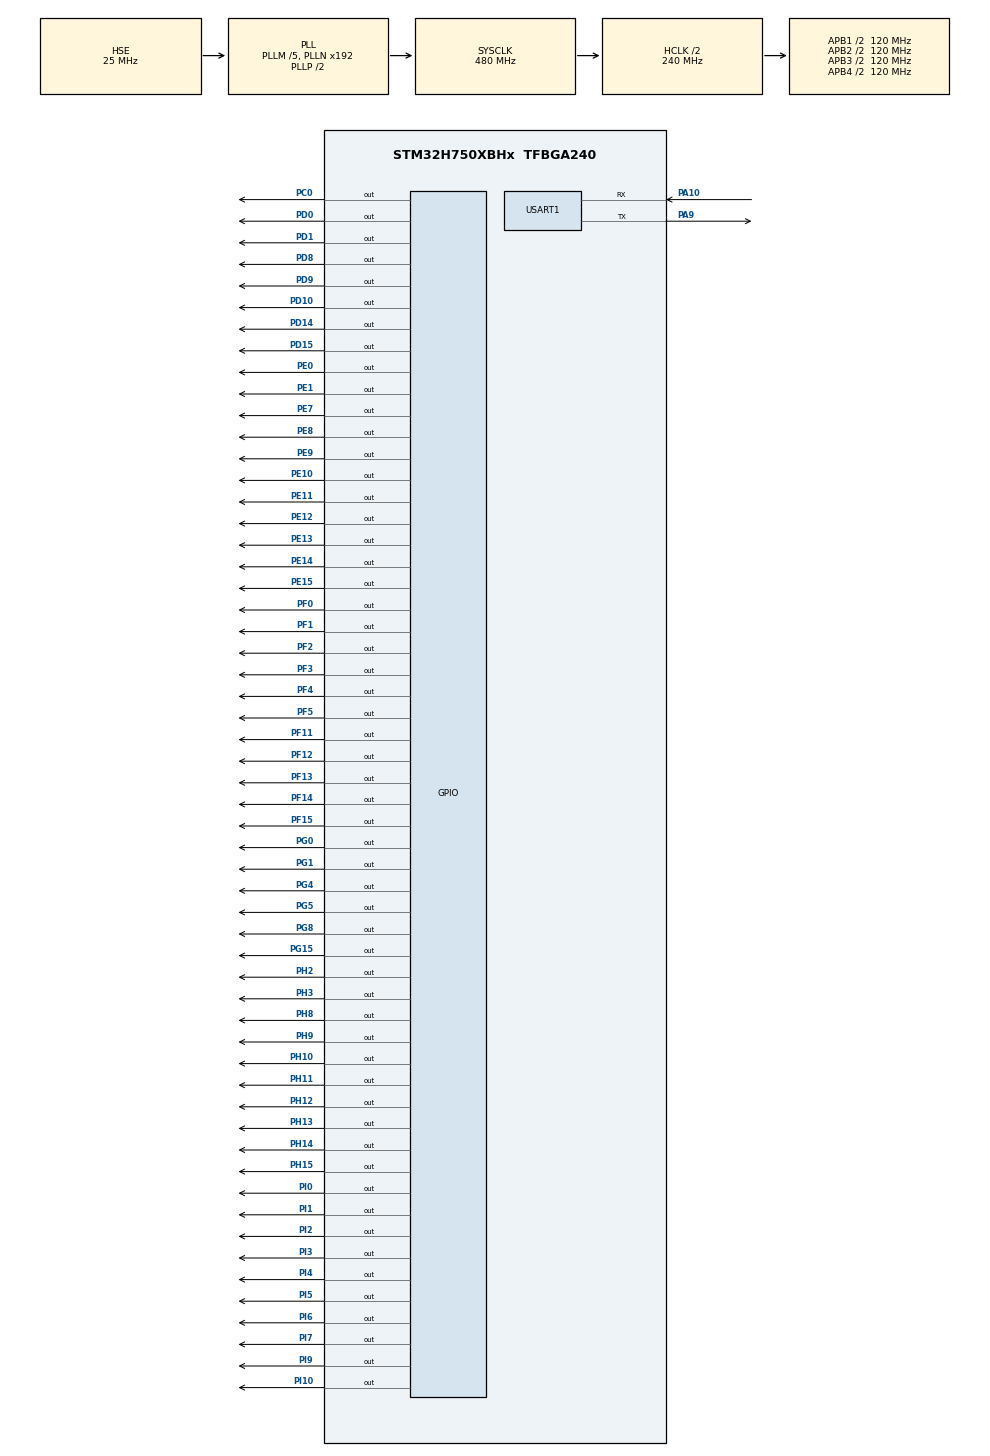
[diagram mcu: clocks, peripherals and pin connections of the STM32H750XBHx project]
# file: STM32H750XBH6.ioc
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CORTEX_M7.AccessPermission-Cortex_Memory_Protection_Unit_Region0_Settings=MPU_REGION_FULL_ACCESS
CORTEX_M7.BaseAddress-Cortex_Memory_Protection_Unit_Region0_Settings=0xC0000000
CORTEX_M7.CPU_DCache=Enabled
CORTEX_M7.CPU_ICache=Enabled
CORTEX_M7.Enable-Cortex_Memory_Protection_Unit_Region0_Settings=MPU_REGION_ENABLE
CORTEX_M7.IsBufferable-Cortex_Memory_Protection_Unit_Region0_Settings=MPU_ACCESS_BUFFERABLE
CORTEX_M7.IsCacheable-Cortex_Memory_Protection_Unit_Region0_Settings=MPU_ACCESS_CACHEABLE
CORTEX_M7.MPU_Control=MPU_PRIVILEGED_DEFAULT
CORTEX_M7.Size-Cortex_Memory_Protection_Unit_Region0_Settings=MPU_REGION_SIZE_16MB
Mcu.Family=STM32H7
Mcu.Name=STM32H750XBHx
Mcu.Package=TFBGA240
NVIC.PriorityGroup=NVIC_PRIORITYGROUP_4
PA10.GPIO_Speed=GPIO_SPEED_FREQ_VERY_HIGH
PA10.Mode=Asynchronous
PA10.Signal=USART1_RX
PA9.GPIO_Speed=GPIO_SPEED_FREQ_VERY_HIGH
PA9.Mode=Asynchronous
PA9.Signal=USART1_TX
PC0.GPIO_ModeDefaultOutputPP=GPIO_MODE_OUTPUT_PP
PC0.GPIO_PuPd=GPIO_NOPULL
PC0.GPIO_Speed=GPIO_SPEED_FREQ_HIGH
PC0.PinState=GPIO_PIN_RESET
PC0.Signal=GPIO_Output
PD0.GPIO_ModeDefaultOutputPP=GPIO_MODE_OUTPUT_PP
PD0.GPIO_PuPd=GPIO_NOPULL
PD0.GPIO_Speed=GPIO_SPEED_FREQ_HIGH
PD0.PinState=GPIO_PIN_RESET
PD0.Signal=GPIO_Output
PD1.GPIO_ModeDefaultOutputPP=GPIO_MODE_OUTPUT_PP
PD1.GPIO_PuPd=GPIO_NOPULL
PD1.GPIO_Speed=GPIO_SPEED_FREQ_HIGH
PD1.PinState=GPIO_PIN_RESET
PD1.Signal=GPIO_Output
PD10.GPIO_ModeDefaultOutputPP=GPIO_MODE_OUTPUT_PP
PD10.GPIO_PuPd=GPIO_NOPULL
PD10.GPIO_Speed=GPIO_SPEED_FREQ_HIGH
PD10.PinState=GPIO_PIN_RESET
PD10.Signal=GPIO_Output
PD14.GPIO_ModeDefaultOutputPP=GPIO_MODE_OUTPUT_PP
PD14.GPIO_PuPd=GPIO_NOPULL
PD14.GPIO_Speed=GPIO_SPEED_FREQ_HIGH
PD14.PinState=GPIO_PIN_RESET
PD14.Signal=GPIO_Output
PD15.GPIO_ModeDefaultOutputPP=GPIO_MODE_OUTPUT_PP
PD15.GPIO_PuPd=GPIO_NOPULL
PD15.GPIO_Speed=GPIO_SPEED_FREQ_HIGH
PD15.PinState=GPIO_PIN_RESET
PD15.Signal=GPIO_Output
PD8.GPIO_ModeDefaultOutputPP=GPIO_MODE_OUTPUT_PP
PD8.GPIO_PuPd=GPIO_NOPULL
PD8.GPIO_Speed=GPIO_SPEED_FREQ_HIGH
PD8.PinState=GPIO_PIN_RESET
PD8.Signal=GPIO_Output
PD9.GPIO_ModeDefaultOutputPP=GPIO_MODE_OUTPUT_PP
PD9.GPIO_PuPd=GPIO_NOPULL
PD9.GPIO_Speed=GPIO_SPEED_FREQ_HIGH
PD9.PinState=GPIO_PIN_RESET
PD9.Signal=GPIO_Output
PE0.GPIO_ModeDefaultOutputPP=GPIO_MODE_OUTPUT_PP
PE0.GPIO_PuPd=GPIO_NOPULL
PE0.GPIO_Speed=GPIO_SPEED_FREQ_HIGH
PE0.PinState=GPIO_PIN_RESET
PE0.Signal=GPIO_Output
PE1.GPIO_ModeDefaultOutputPP=GPIO_MODE_OUTPUT_PP
PE1.GPIO_PuPd=GPIO_NOPULL
PE1.GPIO_Speed=GPIO_SPEED_FREQ_HIGH
PE1.PinState=GPIO_PIN_RESET
PE1.Signal=GPIO_Output
PE10.GPIO_ModeDefaultOutputPP=GPIO_MODE_OUTPUT_PP
PE10.GPIO_PuPd=GPIO_NOPULL
PE10.GPIO_Speed=GPIO_SPEED_FREQ_HIGH
PE10.PinState=GPIO_PIN_RESET
PE10.Signal=GPIO_Output
PE11.GPIO_ModeDefaultOutputPP=GPIO_MODE_OUTPUT_PP
PE11.GPIO_PuPd=GPIO_NOPULL
PE11.GPIO_Speed=GPIO_SPEED_FREQ_HIGH
PE11.PinState=GPIO_PIN_RESET
PE11.Signal=GPIO_Output
PE12.GPIO_ModeDefaultOutputPP=GPIO_MODE_OUTPUT_PP
PE12.GPIO_PuPd=GPIO_NOPULL
PE12.GPIO_Speed=GPIO_SPEED_FREQ_HIGH
PE12.PinState=GPIO_PIN_RESET
PE12.Signal=GPIO_Output
PE13.GPIO_ModeDefaultOutputPP=GPIO_MODE_OUTPUT_PP
PE13.GPIO_PuPd=GPIO_NOPULL
PE13.GPIO_Speed=GPIO_SPEED_FREQ_HIGH
PE13.PinState=GPIO_PIN_RESET
PE13.Signal=GPIO_Output
PE14.GPIO_ModeDefaultOutputPP=GPIO_MODE_OUTPUT_PP
PE14.GPIO_PuPd=GPIO_NOPULL
PE14.GPIO_Speed=GPIO_SPEED_FREQ_HIGH
PE14.PinState=GPIO_PIN_RESET
PE14.Signal=GPIO_Output
PE15.GPIO_ModeDefaultOutputPP=GPIO_MODE_OUTPUT_PP
PE15.GPIO_PuPd=GPIO_NOPULL
PE15.GPIO_Speed=GPIO_SPEED_FREQ_HIGH
PE15.PinState=GPIO_PIN_RESET
PE15.Signal=GPIO_Output
PE7.GPIO_ModeDefaultOutputPP=GPIO_MODE_OUTPUT_PP
PE7.GPIO_PuPd=GPIO_NOPULL
PE7.GPIO_Speed=GPIO_SPEED_FREQ_HIGH
PE7.PinState=GPIO_PIN_RESET
PE7.Signal=GPIO_Output
PE8.GPIO_ModeDefaultOutputPP=GPIO_MODE_OUTPUT_PP
PE8.GPIO_PuPd=GPIO_NOPULL
PE8.GPIO_Speed=GPIO_SPEED_FREQ_HIGH
PE8.PinState=GPIO_PIN_RESET
PE8.Signal=GPIO_Output
PE9.GPIO_ModeDefaultOutputPP=GPIO_MODE_OUTPUT_PP
PE9.GPIO_PuPd=GPIO_NOPULL
PE9.GPIO_Speed=GPIO_SPEED_FREQ_HIGH
PE9.PinState=GPIO_PIN_RESET
PE9.Signal=GPIO_Output
PF0.GPIO_ModeDefaultOutputPP=GPIO_MODE_OUTPUT_PP
PF0.GPIO_PuPd=GPIO_NOPULL
PF0.GPIO_Speed=GPIO_SPEED_FREQ_HIGH
PF0.PinState=GPIO_PIN_RESET
PF0.Signal=GPIO_Output
PF1.GPIO_ModeDefaultOutputPP=GPIO_MODE_OUTPUT_PP
PF1.GPIO_PuPd=GPIO_NOPULL
PF1.GPIO_Speed=GPIO_SPEED_FREQ_HIGH
PF1.PinState=GPIO_PIN_RESET
PF1.Signal=GPIO_Output
PF11.GPIO_ModeDefaultOutputPP=GPIO_MODE_OUTPUT_PP
PF11.GPIO_PuPd=GPIO_NOPULL
PF11.GPIO_Speed=GPIO_SPEED_FREQ_HIGH
PF11.PinState=GPIO_PIN_RESET
PF11.Signal=GPIO_Output
PF12.GPIO_ModeDefaultOutputPP=GPIO_MODE_OUTPUT_PP
PF12.GPIO_PuPd=GPIO_NOPULL
PF12.GPIO_Speed=GPIO_SPEED_FREQ_HIGH
PF12.PinState=GPIO_PIN_RESET
PF12.Signal=GPIO_Output
PF13.GPIO_ModeDefaultOutputPP=GPIO_MODE_OUTPUT_PP
PF13.GPIO_PuPd=GPIO_NOPULL
PF13.GPIO_Speed=GPIO_SPEED_FREQ_HIGH
PF13.PinState=GPIO_PIN_RESET
PF13.Signal=GPIO_Output
PF14.GPIO_ModeDefaultOutputPP=GPIO_MODE_OUTPUT_PP
PF14.GPIO_PuPd=GPIO_NOPULL
PF14.GPIO_Speed=GPIO_SPEED_FREQ_HIGH
PF14.PinState=GPIO_PIN_RESET
PF14.Signal=GPIO_Output
PF15.GPIO_ModeDefaultOutputPP=GPIO_MODE_OUTPUT_PP
PF15.GPIO_PuPd=GPIO_NOPULL
PF15.GPIO_Speed=GPIO_SPEED_FREQ_HIGH
PF15.PinState=GPIO_PIN_RESET
PF15.Signal=GPIO_Output
PF2.GPIO_ModeDefaultOutputPP=GPIO_MODE_OUTPUT_PP
PF2.GPIO_PuPd=GPIO_NOPULL
PF2.GPIO_Speed=GPIO_SPEED_FREQ_HIGH
PF2.PinState=GPIO_PIN_RESET
PF2.Signal=GPIO_Output
PF3.GPIO_ModeDefaultOutputPP=GPIO_MODE_OUTPUT_PP
PF3.GPIO_PuPd=GPIO_NOPULL
PF3.GPIO_Speed=GPIO_SPEED_FREQ_HIGH
PF3.PinState=GPIO_PIN_RESET
PF3.Signal=GPIO_Output
PF4.GPIO_ModeDefaultOutputPP=GPIO_MODE_OUTPUT_PP
PF4.GPIO_PuPd=GPIO_NOPULL
PF4.GPIO_Speed=GPIO_SPEED_FREQ_HIGH
PF4.PinState=GPIO_PIN_RESET
PF4.Signal=GPIO_Output
PF5.GPIO_ModeDefaultOutputPP=GPIO_MODE_OUTPUT_PP
PF5.GPIO_PuPd=GPIO_NOPULL
PF5.GPIO_Speed=GPIO_SPEED_FREQ_HIGH
PF5.PinState=GPIO_PIN_RESET
PF5.Signal=GPIO_Output
PG0.GPIO_ModeDefaultOutputPP=GPIO_MODE_OUTPUT_PP
PG0.GPIO_PuPd=GPIO_NOPULL
PG0.GPIO_Speed=GPIO_SPEED_FREQ_HIGH
PG0.PinState=GPIO_PIN_RESET
PG0.Signal=GPIO_Output
PG1.Signal=GPIO_Output
PG15.GPIO_ModeDefaultOutputPP=GPIO_MODE_OUTPUT_PP
PG15.GPIO_PuPd=GPIO_NOPULL
PG15.GPIO_Speed=GPIO_SPEED_FREQ_HIGH
PG15.PinState=GPIO_PIN_RESET
PG15.Signal=GPIO_Output
PG4.GPIO_ModeDefaultOutputPP=GPIO_MODE_OUTPUT_PP
PG4.GPIO_PuPd=GPIO_NOPULL
PG4.GPIO_Speed=GPIO_SPEED_FREQ_HIGH
PG4.PinState=GPIO_PIN_RESET
PG4.Signal=GPIO_Output
PG5.GPIO_ModeDefaultOutputPP=GPIO_MODE_OUTPUT_PP
PG5.GPIO_PuPd=GPIO_NOPULL
PG5.GPIO_Speed=GPIO_SPEED_FREQ_HIGH
PG5.PinState=GPIO_PIN_RESET
PG5.Signal=GPIO_Output
PG8.GPIO_ModeDefaultOutputPP=GPIO_MODE_OUTPUT_PP
PG8.GPIO_PuPd=GPIO_NOPULL
PG8.GPIO_Speed=GPIO_SPEED_FREQ_HIGH
PG8.PinState=GPIO_PIN_RESET
PG8.Signal=GPIO_Output
PH0-OSC_IN\ (PH0).Mode=HSE-External-Oscillator
PH0-OSC_IN\ (PH0).Signal=RCC_OSC_IN
PH1-OSC_OUT\ (PH1).Mode=HSE-External-Oscillator
PH1-OSC_OUT\ (PH1).Signal=RCC_OSC_OUT
PH10.GPIO_ModeDefaultOutputPP=GPIO_MODE_OUTPUT_PP
PH10.GPIO_PuPd=GPIO_NOPULL
PH10.GPIO_Speed=GPIO_SPEED_FREQ_HIGH
PH10.PinState=GPIO_PIN_RESET
PH10.Signal=GPIO_Output
PH11.GPIO_ModeDefaultOutputPP=GPIO_MODE_OUTPUT_PP
PH11.GPIO_PuPd=GPIO_NOPULL
PH11.GPIO_Speed=GPIO_SPEED_FREQ_HIGH
PH11.PinState=GPIO_PIN_RESET
PH11.Signal=GPIO_Output
PH12.GPIO_ModeDefaultOutputPP=GPIO_MODE_OUTPUT_PP
PH12.GPIO_PuPd=GPIO_NOPULL
PH12.GPIO_Speed=GPIO_SPEED_FREQ_HIGH
PH12.PinState=GPIO_PIN_RESET
PH12.Signal=GPIO_Output
PH13.GPIO_ModeDefaultOutputPP=GPIO_MODE_OUTPUT_PP
PH13.GPIO_PuPd=GPIO_NOPULL
PH13.GPIO_Speed=GPIO_SPEED_FREQ_HIGH
PH13.PinState=GPIO_PIN_RESET
PH13.Signal=GPIO_Output
PH14.GPIO_ModeDefaultOutputPP=GPIO_MODE_OUTPUT_PP
PH14.GPIO_PuPd=GPIO_NOPULL
PH14.GPIO_Speed=GPIO_SPEED_FREQ_HIGH
PH14.PinState=GPIO_PIN_RESET
PH14.Signal=GPIO_Output
PH15.GPIO_ModeDefaultOutputPP=GPIO_MODE_OUTPUT_PP
PH15.GPIO_PuPd=GPIO_NOPULL
PH15.GPIO_Speed=GPIO_SPEED_FREQ_HIGH
PH15.PinState=GPIO_PIN_RESET
PH15.Signal=GPIO_Output
PH2.GPIO_ModeDefaultOutputPP=GPIO_MODE_OUTPUT_PP
PH2.GPIO_PuPd=GPIO_NOPULL
PH2.GPIO_Speed=GPIO_SPEED_FREQ_HIGH
PH2.PinState=GPIO_PIN_RESET
PH2.Signal=GPIO_Output
PH3.GPIO_ModeDefaultOutputPP=GPIO_MODE_OUTPUT_PP
PH3.GPIO_PuPd=GPIO_NOPULL
PH3.GPIO_Speed=GPIO_SPEED_FREQ_HIGH
PH3.PinState=GPIO_PIN_RESET
PH3.Signal=GPIO_Output
PH8.GPIO_ModeDefaultOutputPP=GPIO_MODE_OUTPUT_PP
PH8.GPIO_PuPd=GPIO_NOPULL
PH8.GPIO_Speed=GPIO_SPEED_FREQ_HIGH
PH8.PinState=GPIO_PIN_RESET
PH8.Signal=GPIO_Output
PH9.GPIO_ModeDefaultOutputPP=GPIO_MODE_OUTPUT_PP
PH9.GPIO_PuPd=GPIO_NOPULL
PH9.GPIO_Speed=GPIO_SPEED_FREQ_HIGH
PH9.PinState=GPIO_PIN_RESET
PH9.Signal=GPIO_Output
PI0.GPIO_ModeDefaultOutputPP=GPIO_MODE_OUTPUT_PP
PI0.GPIO_PuPd=GPIO_NOPULL
PI0.GPIO_Speed=GPIO_SPEED_FREQ_HIGH
PI0.PinState=GPIO_PIN_RESET
PI0.Signal=GPIO_Output
PI1.GPIO_ModeDefaultOutputPP=GPIO_MODE_OUTPUT_PP
PI1.GPIO_PuPd=GPIO_NOPULL
PI1.GPIO_Speed=GPIO_SPEED_FREQ_HIGH
PI1.PinState=GPIO_PIN_RESET
PI1.Signal=GPIO_Output
PI10.GPIO_ModeDefaultOutputPP=GPIO_MODE_OUTPUT_PP
PI10.GPIO_PuPd=GPIO_NOPULL
PI10.GPIO_Speed=GPIO_SPEED_FREQ_HIGH
PI10.PinState=GPIO_PIN_RESET
PI10.Signal=GPIO_Output
PI2.GPIO_ModeDefaultOutputPP=GPIO_MODE_OUTPUT_PP
PI2.GPIO_PuPd=GPIO_NOPULL
PI2.GPIO_Speed=GPIO_SPEED_FREQ_HIGH
PI2.PinState=GPIO_PIN_RESET
PI2.Signal=GPIO_Output
PI3.GPIO_ModeDefaultOutputPP=GPIO_MODE_OUTPUT_PP
PI3.GPIO_PuPd=GPIO_NOPULL
PI3.GPIO_Speed=GPIO_SPEED_FREQ_HIGH
PI3.PinState=GPIO_PIN_RESET
PI3.Signal=GPIO_Output
PI4.GPIO_ModeDefaultOutputPP=GPIO_MODE_OUTPUT_PP
PI4.GPIO_PuPd=GPIO_NOPULL
PI4.GPIO_Speed=GPIO_SPEED_FREQ_HIGH
PI4.PinState=GPIO_PIN_RESET
PI4.Signal=GPIO_Output
PI5.GPIO_ModeDefaultOutputPP=GPIO_MODE_OUTPUT_PP
PI5.GPIO_PuPd=GPIO_NOPULL
PI5.GPIO_Speed=GPIO_SPEED_FREQ_HIGH
PI5.PinState=GPIO_PIN_RESET
PI5.Signal=GPIO_Output
PI6.GPIO_ModeDefaultOutputPP=GPIO_MODE_OUTPUT_PP
PI6.GPIO_PuPd=GPIO_NOPULL
PI6.GPIO_Speed=GPIO_SPEED_FREQ_HIGH
PI6.PinState=GPIO_PIN_RESET
PI6.Signal=GPIO_Output
PI7.GPIO_ModeDefaultOutputPP=GPIO_MODE_OUTPUT_PP
PI7.GPIO_PuPd=GPIO_NOPULL
PI7.GPIO_Speed=GPIO_SPEED_FREQ_HIGH
PI7.PinState=GPIO_PIN_RESET
PI7.Signal=GPIO_Output
PI9.GPIO_ModeDefaultOutputPP=GPIO_MODE_OUTPUT_PP
PI9.GPIO_PuPd=GPIO_NOPULL
PI9.GPIO_Speed=GPIO_SPEED_FREQ_HIGH
PI9.PinState=GPIO_PIN_RESET
PI9.Signal=GPIO_Output
ProjectManager.HeapSize=0x200
ProjectManager.StackSize=0x400
ProjectManager.TargetToolchain=MDK-ARM V5.32
RCC.ADCFreq_Value=50390625
RCC.APB1Freq_Value=120000000
RCC.APB2Freq_Value=120000000
RCC.APB3Freq_Value=120000000
RCC.APB4Freq_Value=120000000
RCC.CortexFreq_Value=480000000
RCC.D1PPRE=RCC_APB3_DIV2
RCC.D2PPRE1=RCC_APB1_DIV2
RCC.D2PPRE2=RCC_APB2_DIV2
RCC.D3PPRE=RCC_APB4_DIV2
RCC.DIVM1=5
RCC.DIVN1=192
RCC.HCLKFreq_Value=240000000
RCC.HPRE=RCC_HCLK_DIV2
RCC.PLLSourceVirtual=RCC_PLLSOURCE_HSE
RCC.SYSCLKFreq_VALUE=480000000
RCC.SYSCLKSource=RCC_SYSCLKSOURCE_PLLCLK
RCC.USBFreq_Value=480000000
USART1.VirtualMode-Asynchronous=VM_ASYNC
VP_MEMORYMAP_VS_MEMORYMAP.Mode=CurAppReg
board=custom

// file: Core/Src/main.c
/* USER CODE BEGIN Header */
/**
  ******************************************************************************
  * @file           : main.c
  * @brief          : Main program body
  ******************************************************************************
  * @attention
  *
  * Copyright (c) 2024 STMicroelectronics.
  * All rights reserved.
  *
  * This software is licensed under terms that can be found in the LICENSE file
  * in the root directory of this software component.
  * If no LICENSE file comes with this software, it is provided AS-IS.
  *
  ******************************************************************************
  */
/* USER CODE END Header */
#include "main.h"

/* USER CODE BEGIN Includes */
#include "led.h"
#include "usart.h"
//#include "sdram.h"
/* USER CODE END Includes */

UART_HandleTypeDef huart1;

void SystemClock_Config(void);
static void MPU_Config(void);
static void MX_GPIO_Init(void);
static void MX_USART1_UART_Init(void);

int main(void)
{

  /* MPU Configuration--------------------------------------------------------*/
  MPU_Config();

  /* Enable the CPU Cache */

  /* Enable I-Cache---------------------------------------------------------*/
  SCB_EnableICache();

  /* Enable D-Cache---------------------------------------------------------*/
  SCB_EnableDCache();

  /* MCU Configuration--------------------------------------------------------*/

  /* Reset of all peripherals, Initializes the Flash interface and the Systick. */
  HAL_Init();

  /* Configure the system clock */
  SystemClock_Config();

  /* Initialize all configured peripherals */
  MX_GPIO_Init();
  MX_USART1_UART_Init();
  /* USER CODE BEGIN 2 */
	LED_Init();					// ��ʼ��LED����

  /* USER CODE END 2 */

  /* Infinite loop */
  while (1)
  {

    /* USER CODE BEGIN 3 */
		/* 依次翻转每组端口的这些引脚 */
		HAL_GPIO_TogglePin(GPIOC, GPIO_PIN_0);

		HAL_GPIO_TogglePin(GPIOD, GPIO_PIN_0  | GPIO_PIN_1  | GPIO_PIN_8  |
															 GPIO_PIN_9  | GPIO_PIN_10 | GPIO_PIN_14 |
															 GPIO_PIN_15);

		HAL_GPIO_TogglePin(GPIOE, GPIO_PIN_0  | GPIO_PIN_1  | GPIO_PIN_7  |
															 GPIO_PIN_8  | GPIO_PIN_9  | GPIO_PIN_10 |
															 GPIO_PIN_11 | GPIO_PIN_12 | GPIO_PIN_13 |
															 GPIO_PIN_14 | GPIO_PIN_15);

		HAL_GPIO_TogglePin(GPIOF, GPIO_PIN_0  | GPIO_PIN_1  | GPIO_PIN_2  |
															 GPIO_PIN_3  | GPIO_PIN_4  | GPIO_PIN_5  |
															 GPIO_PIN_11 | GPIO_PIN_12 | GPIO_PIN_13 |
															 GPIO_PIN_14 | GPIO_PIN_15);

		HAL_GPIO_TogglePin(GPIOG, GPIO_PIN_0  | GPIO_PIN_1  | GPIO_PIN_4  |
															 GPIO_PIN_5  | GPIO_PIN_8  | GPIO_PIN_15);

		HAL_GPIO_TogglePin(GPIOH, GPIO_PIN_2  | GPIO_PIN_3  | GPIO_PIN_8  |
															 GPIO_PIN_9  | GPIO_PIN_10 | GPIO_PIN_11 |
															 GPIO_PIN_12 | GPIO_PIN_13 | GPIO_PIN_14 |
															 GPIO_PIN_15);

		HAL_GPIO_TogglePin(GPIOI, GPIO_PIN_0  | GPIO_PIN_1  | GPIO_PIN_2  |
															 GPIO_PIN_3  | GPIO_PIN_4  | GPIO_PIN_5  |
															 GPIO_PIN_6  | GPIO_PIN_7  | GPIO_PIN_9  |
															 GPIO_PIN_10);

		LED1_Toggle;
		HAL_Delay(100);

  }
  /* USER CODE END 3 */
}

void SystemClock_Config(void)
{
  RCC_OscInitTypeDef RCC_OscInitStruct = {0};
  RCC_ClkInitTypeDef RCC_ClkInitStruct = {0};

  /** Supply configuration update enable
  */
  HAL_PWREx_ConfigSupply(PWR_LDO_SUPPLY);

  /** Configure the main internal regulator output voltage
  */
  __HAL_PWR_VOLTAGESCALING_CONFIG(PWR_REGULATOR_VOLTAGE_SCALE0);

  while(!__HAL_PWR_GET_FLAG(PWR_FLAG_VOSRDY)) {}

  /** Initializes the RCC Oscillators according to the specified parameters
  * in the RCC_OscInitTypeDef structure.
  */
  RCC_OscInitStruct.OscillatorType = RCC_OSCILLATORTYPE_HSE;
  RCC_OscInitStruct.HSEState = RCC_HSE_ON;
  RCC_OscInitStruct.PLL.PLLState = RCC_PLL_ON;
  RCC_OscInitStruct.PLL.PLLSource = RCC_PLLSOURCE_HSE;
  RCC_OscInitStruct.PLL.PLLM = 5;
  RCC_OscInitStruct.PLL.PLLN = 192;
  RCC_OscInitStruct.PLL.PLLP = 2;
  RCC_OscInitStruct.PLL.PLLQ = 2;
  RCC_OscInitStruct.PLL.PLLR = 2;
  RCC_OscInitStruct.PLL.PLLRGE = RCC_PLL1VCIRANGE_2;
  RCC_OscInitStruct.PLL.PLLVCOSEL = RCC_PLL1VCOWIDE;
  RCC_OscInitStruct.PLL.PLLFRACN = 0;
  if (HAL_RCC_OscConfig(&RCC_OscInitStruct) != HAL_OK)
  {
    Error_Handler();
  }

  /** Initializes the CPU, AHB and APB buses clocks
  */
  RCC_ClkInitStruct.ClockType = RCC_CLOCKTYPE_HCLK|RCC_CLOCKTYPE_SYSCLK
                              |RCC_CLOCKTYPE_PCLK1|RCC_CLOCKTYPE_PCLK2
                              |RCC_CLOCKTYPE_D3PCLK1|RCC_CLOCKTYPE_D1PCLK1;
  RCC_ClkInitStruct.SYSCLKSource = RCC_SYSCLKSOURCE_PLLCLK;
  RCC_ClkInitStruct.SYSCLKDivider = RCC_SYSCLK_DIV1;
  RCC_ClkInitStruct.AHBCLKDivider = RCC_HCLK_DIV2;
  RCC_ClkInitStruct.APB3CLKDivider = RCC_APB3_DIV2;
  RCC_ClkInitStruct.APB1CLKDivider = RCC_APB1_DIV2;
  RCC_ClkInitStruct.APB2CLKDivider = RCC_APB2_DIV2;
  RCC_ClkInitStruct.APB4CLKDivider = RCC_APB4_DIV2;

  if (HAL_RCC_ClockConfig(&RCC_ClkInitStruct, FLASH_LATENCY_4) != HAL_OK)
  {
    Error_Handler();
  }
}

static void MX_USART1_UART_Init(void)
{

  huart1.Instance = USART1;
  huart1.Init.BaudRate = 115200;
  huart1.Init.WordLength = UART_WORDLENGTH_8B;
  huart1.Init.StopBits = UART_STOPBITS_1;
  huart1.Init.Parity = UART_PARITY_NONE;
  huart1.Init.Mode = UART_MODE_TX_RX;
  huart1.Init.HwFlowCtl = UART_HWCONTROL_NONE;
  huart1.Init.OverSampling = UART_OVERSAMPLING_16;
  huart1.Init.OneBitSampling = UART_ONE_BIT_SAMPLE_DISABLE;
  huart1.Init.ClockPrescaler = UART_PRESCALER_DIV1;
  huart1.AdvancedInit.AdvFeatureInit = UART_ADVFEATURE_NO_INIT;
  if (HAL_UART_Init(&huart1) != HAL_OK)
  {
    Error_Handler();
  }
  if (HAL_UARTEx_SetTxFifoThreshold(&huart1, UART_TXFIFO_THRESHOLD_1_8) != HAL_OK)
  {
    Error_Handler();
  }
  if (HAL_UARTEx_SetRxFifoThreshold(&huart1, UART_RXFIFO_THRESHOLD_1_8) != HAL_OK)
  {
    Error_Handler();
  }
  if (HAL_UARTEx_DisableFifoMode(&huart1) != HAL_OK)
  {
    Error_Handler();
  }

}

static void MX_GPIO_Init(void)
{
  GPIO_InitTypeDef GPIO_InitStruct = {0};

  /* GPIO Ports Clock Enable */
  __HAL_RCC_GPIOI_CLK_ENABLE();
  __HAL_RCC_GPIOE_CLK_ENABLE();
  __HAL_RCC_GPIOH_CLK_ENABLE();
  __HAL_RCC_GPIOG_CLK_ENABLE();
  __HAL_RCC_GPIOD_CLK_ENABLE();
  __HAL_RCC_GPIOA_CLK_ENABLE();
  __HAL_RCC_GPIOF_CLK_ENABLE();
  __HAL_RCC_GPIOC_CLK_ENABLE();

  /*Configure GPIO pin Output Level */
  HAL_GPIO_WritePin(GPIOI, GPIO_PIN_6|GPIO_PIN_5|GPIO_PIN_4|GPIO_PIN_1
                          |GPIO_PIN_0|GPIO_PIN_7|GPIO_PIN_2|GPIO_PIN_3
                          |GPIO_PIN_9|GPIO_PIN_10, GPIO_PIN_RESET);

  /*Configure GPIO pin Output Level */
  HAL_GPIO_WritePin(GPIOE, GPIO_PIN_1|GPIO_PIN_0|GPIO_PIN_10|GPIO_PIN_9
                          |GPIO_PIN_11|GPIO_PIN_12|GPIO_PIN_15|GPIO_PIN_8
                          |GPIO_PIN_13|GPIO_PIN_7|GPIO_PIN_14, GPIO_PIN_RESET);

  /*Configure GPIO pin Output Level */
  HAL_GPIO_WritePin(GPIOH, GPIO_PIN_15|GPIO_PIN_14|GPIO_PIN_13|GPIO_PIN_2
                          |GPIO_PIN_3|GPIO_PIN_10|GPIO_PIN_11|GPIO_PIN_9
                          |GPIO_PIN_12|GPIO_PIN_8, GPIO_PIN_RESET);

  /*Configure GPIO pin Output Level */
  HAL_GPIO_WritePin(GPIOG, GPIO_PIN_15|GPIO_PIN_8|GPIO_PIN_5|GPIO_PIN_4
                          |GPIO_PIN_0|GPIO_PIN_1, GPIO_PIN_RESET);

  /*Configure GPIO pin Output Level */
  HAL_GPIO_WritePin(GPIOD, GPIO_PIN_0|GPIO_PIN_1|GPIO_PIN_15|GPIO_PIN_14
                          |GPIO_PIN_10|GPIO_PIN_9|GPIO_PIN_8, GPIO_PIN_RESET);

  /*Configure GPIO pin Output Level */
  HAL_GPIO_WritePin(GPIOF, GPIO_PIN_2|GPIO_PIN_1|GPIO_PIN_0|GPIO_PIN_3
                          |GPIO_PIN_5|GPIO_PIN_4|GPIO_PIN_13|GPIO_PIN_14
                          |GPIO_PIN_12|GPIO_PIN_15|GPIO_PIN_11, GPIO_PIN_RESET);

  /*Configure GPIO pin Output Level */
  HAL_GPIO_WritePin(GPIOC, GPIO_PIN_0, GPIO_PIN_RESET);

  /*Configure GPIO pins : PI6 PI5 PI4 PI1
                           PI0 PI7 PI2 PI3
                           PI9 PI10 */
  GPIO_InitStruct.Pin = GPIO_PIN_6|GPIO_PIN_5|GPIO_PIN_4|GPIO_PIN_1
                          |GPIO_PIN_0|GPIO_PIN_7|GPIO_PIN_2|GPIO_PIN_3
                          |GPIO_PIN_9|GPIO_PIN_10;
  GPIO_InitStruct.Mode = GPIO_MODE_OUTPUT_PP;
  GPIO_InitStruct.Pull = GPIO_NOPULL;
  GPIO_InitStruct.Speed = GPIO_SPEED_FREQ_HIGH;
  HAL_GPIO_Init(GPIOI, &GPIO_InitStruct);

  /*Configure GPIO pins : PE1 PE0 PE10 PE9
                           PE11 PE12 PE15 PE8
                           PE13 PE7 PE14 */
  GPIO_InitStruct.Pin = GPIO_PIN_1|GPIO_PIN_0|GPIO_PIN_10|GPIO_PIN_9
                          |GPIO_PIN_11|GPIO_PIN_12|GPIO_PIN_15|GPIO_PIN_8
                          |GPIO_PIN_13|GPIO_PIN_7|GPIO_PIN_14;
  GPIO_InitStruct.Mode = GPIO_MODE_OUTPUT_PP;
  GPIO_InitStruct.Pull = GPIO_NOPULL;
  GPIO_InitStruct.Speed = GPIO_SPEED_FREQ_HIGH;
  HAL_GPIO_Init(GPIOE, &GPIO_InitStruct);

  /*Configure GPIO pins : PH15 PH14 PH13 PH2
                           PH3 PH10 PH11 PH9
                           PH12 PH8 */
  GPIO_InitStruct.Pin = GPIO_PIN_15|GPIO_PIN_14|GPIO_PIN_13|GPIO_PIN_2
                          |GPIO_PIN_3|GPIO_PIN_10|GPIO_PIN_11|GPIO_PIN_9
                          |GPIO_PIN_12|GPIO_PIN_8;
  GPIO_InitStruct.Mode = GPIO_MODE_OUTPUT_PP;
  GPIO_InitStruct.Pull = GPIO_NOPULL;
  GPIO_InitStruct.Speed = GPIO_SPEED_FREQ_HIGH;
  HAL_GPIO_Init(GPIOH, &GPIO_InitStruct);

  /*Configure GPIO pins : PG15 PG8 PG5 PG4
                           PG0 */
  GPIO_InitStruct.Pin = GPIO_PIN_15|GPIO_PIN_8|GPIO_PIN_5|GPIO_PIN_4
                          |GPIO_PIN_0;
  GPIO_InitStruct.Mode = GPIO_MODE_OUTPUT_PP;
  GPIO_InitStruct.Pull = GPIO_NOPULL;
  GPIO_InitStruct.Speed = GPIO_SPEED_FREQ_HIGH;
  HAL_GPIO_Init(GPIOG, &GPIO_InitStruct);

  /*Configure GPIO pins : PD0 PD1 PD15 PD14
                           PD10 PD9 PD8 */
  GPIO_InitStruct.Pin = GPIO_PIN_0|GPIO_PIN_1|GPIO_PIN_15|GPIO_PIN_14
                          |GPIO_PIN_10|GPIO_PIN_9|GPIO_PIN_8;
  GPIO_InitStruct.Mode = GPIO_MODE_OUTPUT_PP;
  GPIO_InitStruct.Pull = GPIO_NOPULL;
  GPIO_InitStruct.Speed = GPIO_SPEED_FREQ_HIGH;
  HAL_GPIO_Init(GPIOD, &GPIO_InitStruct);

  /*Configure GPIO pins : PF2 PF1 PF0 PF3
                           PF5 PF4 PF13 PF14
                           PF12 PF15 PF11 */
  GPIO_InitStruct.Pin = GPIO_PIN_2|GPIO_PIN_1|GPIO_PIN_0|GPIO_PIN_3
                          |GPIO_PIN_5|GPIO_PIN_4|GPIO_PIN_13|GPIO_PIN_14
                          |GPIO_PIN_12|GPIO_PIN_15|GPIO_PIN_11;
  GPIO_InitStruct.Mode = GPIO_MODE_OUTPUT_PP;
  GPIO_InitStruct.Pull = GPIO_NOPULL;
  GPIO_InitStruct.Speed = GPIO_SPEED_FREQ_HIGH;
  HAL_GPIO_Init(GPIOF, &GPIO_InitStruct);

  /*Configure GPIO pin : PC0 */
  GPIO_InitStruct.Pin = GPIO_PIN_0;
  GPIO_InitStruct.Mode = GPIO_MODE_OUTPUT_PP;
  GPIO_InitStruct.Pull = GPIO_NOPULL;
  GPIO_InitStruct.Speed = GPIO_SPEED_FREQ_HIGH;
  HAL_GPIO_Init(GPIOC, &GPIO_InitStruct);

  /*Configure GPIO pin : PG1 */
  GPIO_InitStruct.Pin = GPIO_PIN_1;
  GPIO_InitStruct.Mode = GPIO_MODE_OUTPUT_PP;
  GPIO_InitStruct.Pull = GPIO_NOPULL;
  GPIO_InitStruct.Speed = GPIO_SPEED_FREQ_LOW;
  HAL_GPIO_Init(GPIOG, &GPIO_InitStruct);

}

 /* MPU Configuration */

void MPU_Config(void)
{
  MPU_Region_InitTypeDef MPU_InitStruct = {0};

  /* Disables the MPU */
  HAL_MPU_Disable();

  /** Initializes and configures the Region and the memory to be protected
  */
  MPU_InitStruct.Enable = MPU_REGION_ENABLE;
  MPU_InitStruct.Number = MPU_REGION_NUMBER0;
  MPU_InitStruct.BaseAddress = 0xC0000000;
  MPU_InitStruct.Size = MPU_REGION_SIZE_16MB;
  MPU_InitStruct.SubRegionDisable = 0x0;
  MPU_InitStruct.TypeExtField = MPU_TEX_LEVEL0;
  MPU_InitStruct.AccessPermission = MPU_REGION_FULL_ACCESS;
  MPU_InitStruct.DisableExec = MPU_INSTRUCTION_ACCESS_ENABLE;
  MPU_InitStruct.IsShareable = MPU_ACCESS_NOT_SHAREABLE;
  MPU_InitStruct.IsCacheable = MPU_ACCESS_CACHEABLE;
  MPU_InitStruct.IsBufferable = MPU_ACCESS_BUFFERABLE;

  HAL_MPU_ConfigRegion(&MPU_InitStruct);
  /* Enables the MPU */
  HAL_MPU_Enable(MPU_PRIVILEGED_DEFAULT);

}

void Error_Handler(void)
{
  /* USER CODE BEGIN Error_Handler_Debug */
  /* User can add his own implementation to report the HAL error return state */
  __disable_irq();
  while (1)
  {
		printf("error\r\n");
  }
  /* USER CODE END Error_Handler_Debug */
}
